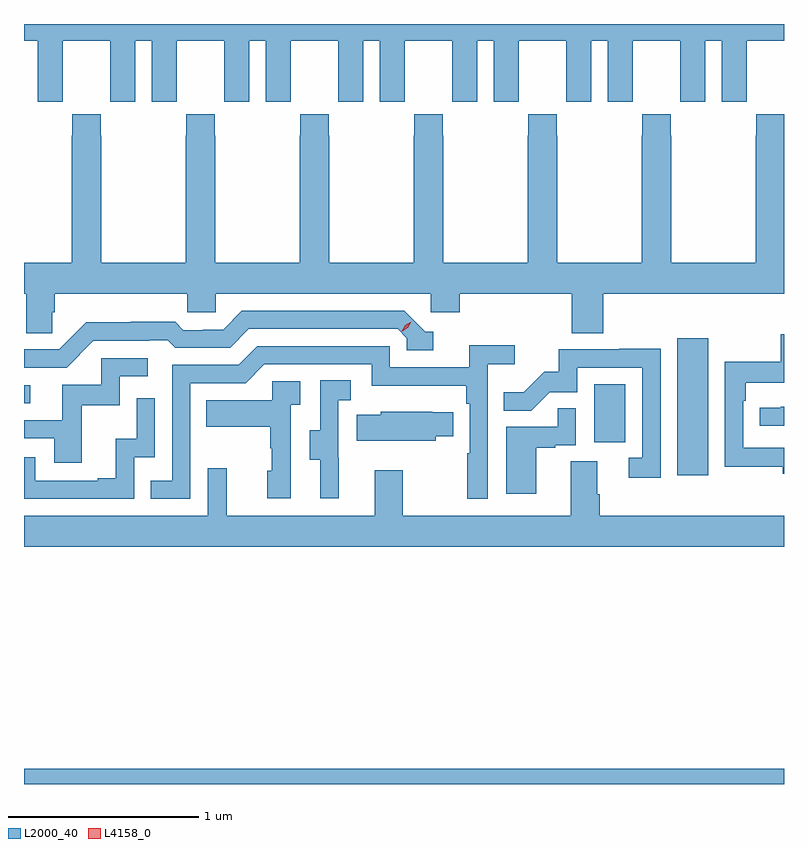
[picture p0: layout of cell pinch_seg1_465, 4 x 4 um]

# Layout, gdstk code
import gdstk
lib = gdstk.Library(unit=1e-6, precision=1e-09)
def R(c, l, rs):  # rectangles x0, y0, x1, y1
    for r in rs: c.add(gdstk.rectangle(r[:2], r[2:], *l))
def P(c, l, *ps):  # polygons
    for p in ps: c.add(gdstk.Polygon(p, *l))
L2000_40 = (2000, 40)
L4158_0 = (4158, 0)

pinch_seg1_465 = lib.new_cell('pinch_seg1_465')
R(pinch_seg1_465, L2000_40, [(1077.223,522.512,1081.223,522.592), (1080.662,524.136,1080.823,524.857), (1080.224,524.31,1080.388,524.617), (1077.223,524.517,1077.256,524.61)])
P(pinch_seg1_465, L2000_40, [(1077.223,526.424),(1077.296,526.424),(1077.296,526.104),(1077.426,526.104),(1077.426,526.216),(1077.427,526.216),(1077.427,526.424),(1077.677,526.424),(1077.677,526.216),(1077.678,526.216),(1077.678,526.104),(1077.808,526.104),(1077.808,526.424),(1077.896,526.424),(1077.896,526.104),(1078.026,526.104),(1078.026,526.216),(1078.027,526.216),(1078.027,526.424),(1078.277,526.424),(1078.277,526.216),(1078.278,526.216),(1078.278,526.104),(1078.408,526.104),(1078.408,526.424),(1078.496,526.424),(1078.496,526.104),(1078.626,526.104),(1078.626,526.216),(1078.627,526.216),(1078.627,526.424),(1078.877,526.424),(1078.877,526.216),(1078.878,526.216),(1078.878,526.104),(1079.008,526.104),(1079.008,526.424),(1079.096,526.424),(1079.096,526.104),(1079.226,526.104),(1079.226,526.216),(1079.227,526.216),(1079.227,526.424),(1079.477,526.424),(1079.477,526.216),(1079.478,526.216),(1079.478,526.104),(1079.608,526.104),(1079.608,526.424),(1079.696,526.424),(1079.696,526.104),(1079.826,526.104),(1079.826,526.216),(1079.827,526.216),(1079.827,526.424),(1080.077,526.424),(1080.077,526.216),(1080.078,526.216),(1080.078,526.104),(1080.208,526.104),(1080.208,526.424),(1080.296,526.424),(1080.296,526.104),(1080.426,526.104),(1080.426,526.216),(1080.427,526.216),(1080.427,526.424),(1080.677,526.424),(1080.677,526.216),(1080.678,526.216),(1080.678,526.104),(1080.808,526.104),(1080.808,526.424),(1080.896,526.424),(1080.896,526.104),(1081.026,526.104),(1081.026,526.216),(1081.027,526.216),(1081.027,526.424),(1081.223,526.424),(1081.223,526.512),(1077.223,526.512)],
  [(1079.516,525.092),(1080.107,525.092),(1080.107,524.884),(1080.272,524.884),(1080.272,525.092),(1081.223,525.092),(1081.223,526.036),(1081.077,526.036),(1081.077,525.923),(1081.075,525.923),(1081.075,525.256),(1080.63,525.256),(1080.63,525.923),(1080.627,525.923),(1080.627,526.036),(1080.477,526.036),(1080.477,525.923),(1080.475,525.923),(1080.475,525.256),(1080.03,525.256),(1080.03,525.923),(1080.027,525.923),(1080.027,526.036),(1079.877,526.036),(1079.877,525.923),(1079.875,525.923),(1079.875,525.256),(1079.43,525.256),(1079.43,525.923),(1079.427,525.923),(1079.427,526.036),(1079.277,526.036),(1079.277,525.923),(1079.275,525.923),(1079.275,525.256),(1078.83,525.256),(1078.83,525.923),(1078.827,525.923),(1078.827,526.036),(1078.677,526.036),(1078.677,525.923),(1078.675,525.923),(1078.675,525.256),(1078.23,525.256),(1078.23,525.923),(1078.227,525.923),(1078.227,526.036),(1078.077,526.036),(1078.077,525.923),(1078.075,525.923),(1078.075,525.256),(1077.63,525.256),(1077.63,525.923),(1077.627,525.923),(1077.627,526.036),(1077.477,526.036),(1077.477,525.923),(1077.475,525.923),(1077.475,525.256),(1077.223,525.256),(1077.223,525.092),(1077.234,525.092),(1077.234,524.884),(1077.371,524.884),(1077.371,524.994),(1077.386,524.994),(1077.386,525.092),(1078.083,525.092),(1078.083,524.994),(1078.233,524.994),(1078.233,525.092),(1079.364,525.092),(1079.364,524.994),(1079.516,524.994)],
  [(1077.588,524.844),(1077.881,524.844),(1077.881,524.847),(1077.98,524.847),(1078.019,524.808),(1078.308,524.808),(1078.407,524.907),(1079.19,524.907),(1079.238,524.859),(1079.238,524.796),(1079.377,524.796),(1079.377,524.892),(1079.334,524.892),(1079.223,525.003),(1078.37,525.003),(1078.271,524.904),(1078.164,524.904),(1078.164,524.901),(1078.061,524.901),(1078.019,524.944),(1077.786,524.944),(1077.786,524.941),(1077.55,524.941),(1077.408,524.799),(1077.223,524.799),(1077.223,524.703),(1077.447,524.703)],
  [(1081.223,524.283),(1081.008,524.283),(1081.008,524.528),(1081.022,524.528),(1081.022,524.624),(1081.223,524.624),(1081.223,524.88),(1081.206,524.88),(1081.206,524.734),(1080.912,524.734),(1080.912,524.182),(1081.217,524.182),(1081.217,524.144),(1081.223,524.144)],
  [(1078.098,524.622),(1078.389,524.622),(1078.488,524.721),(1079.052,524.721),(1079.052,524.609),(1079.551,524.609),(1079.551,524.513),(1079.568,524.513),(1079.568,524.252),(1079.556,524.252),(1079.556,524.013),(1079.664,524.013),(1079.664,524.72),(1079.806,524.72),(1079.806,524.822),(1079.567,524.822),(1079.567,524.706),(1079.148,524.706),(1079.148,524.817),(1078.451,524.817),(1078.352,524.718),(1078.002,524.718),(1078.002,524.109),(1077.889,524.109),(1077.889,524.013),(1078.098,524.013)],
  [(1080.573,524.804),(1080.355,524.804),(1080.355,524.799),(1080.037,524.799),(1080.037,524.682),(1079.96,524.682),(1079.853,524.575),(1079.749,524.575),(1079.749,524.476),(1079.893,524.476),(1079.991,524.574),(1080.135,524.574),(1080.135,524.703),(1080.477,524.703),(1080.477,524.229),(1080.405,524.229),(1080.405,524.124),(1080.573,524.124)],
  [(1077.527,524.505),(1077.726,524.505),(1077.726,524.658),(1077.874,524.658),(1077.874,524.754),(1077.63,524.754),(1077.63,524.613),(1077.425,524.613),(1077.425,524.427),(1077.223,524.427),(1077.223,524.331),(1077.383,524.331),(1077.383,524.202),(1077.527,524.202)],
  [(1078.88,524.229),(1078.878,524.229),(1078.878,524.533),(1078.942,524.533),(1078.942,524.636),(1078.782,524.636),(1078.782,524.373),(1078.727,524.373),(1078.727,524.218),(1078.781,524.218),(1078.781,524.016),(1078.88,524.016)],
  [(1078.626,524.507),(1078.678,524.507),(1078.678,524.631),(1078.53,524.631),(1078.53,524.533),(1078.183,524.533),(1078.183,524.393),(1078.518,524.393),(1078.518,524.279),(1078.528,524.279),(1078.528,524.16),(1078.502,524.16),(1078.502,524.016),(1078.626,524.016)],
  [(1077.804,524.232),(1077.912,524.232),(1077.912,524.542),(1077.816,524.542),(1077.816,524.33),(1077.707,524.33),(1077.707,524.121),(1077.611,524.121),(1077.611,524.109),(1077.282,524.109),(1077.282,524.232),(1077.223,524.232),(1077.223,524.013),(1077.804,524.013)],
  [(1081.223,524.498),(1081.207,524.498),(1081.207,524.493),(1081.095,524.493),(1081.095,524.397),(1081.223,524.397)],
  [(1079.92,524.283),(1080.02,524.283),(1080.02,524.295),(1080.126,524.295),(1080.126,524.489),(1080.031,524.489),(1080.031,524.391),(1079.762,524.391),(1079.762,524.04),(1079.92,524.04)],
  [(1079.389,524.341),(1079.483,524.341),(1079.483,524.469),(1079.372,524.469),(1079.372,524.47),(1079.1,524.47),(1079.1,524.455),(1078.975,524.455),(1078.975,524.318),(1079.389,524.318)],
  [(1081.223,523.924),(1080.254,523.924),(1080.254,524.036),(1080.241,524.036),(1080.241,524.21),(1080.101,524.21),(1080.101,523.924),(1079.217,523.924),(1079.217,524.164),(1079.069,524.164),(1079.069,523.924),(1078.289,523.924),(1078.289,524.173),(1078.191,524.173),(1078.191,523.924),(1077.223,523.924),(1077.223,523.76),(1081.223,523.76)])
P(pinch_seg1_465, L4158_0, [(1079.212,524.895),(1079.212,524.895),(1079.229,524.927),(1079.26,524.946),(1079.26,524.946),(1079.26,524.946),(1079.244,524.914),(1079.213,524.895)])

lib.write_gds('pinch_seg1_465.gds')
